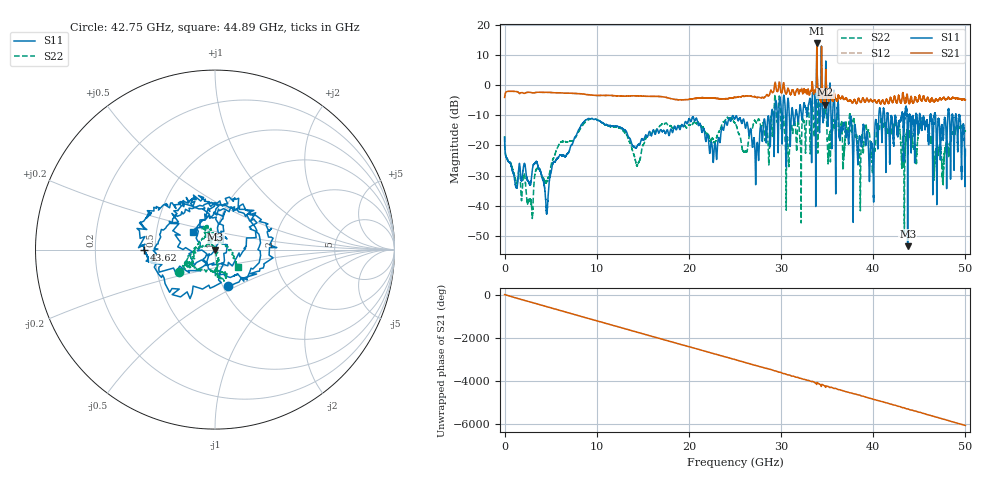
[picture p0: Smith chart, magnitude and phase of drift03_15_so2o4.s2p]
!Created with skrf (http://scikit-rf.org).
# Hz S RI R 50.0
!freq ReS11 ImS11 ReS21 ImS21 ReS12 ImS12 ReS22 ImS22
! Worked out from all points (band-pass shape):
!   10001 points, 300 kHz to 50 GHz, reference 50 ohm
!   highest |S21| = 13.94 dB at 33.88 GHz (marker M1); lowest = -6.4 dB at 34.79 GHz (marker M2)
!   |S21| within 3 dB of the highest: 33.8696 GHz to 33.88923 GHz (19.63 MHz wide, 0.0579 % of centre); 34.37674 GHz to 34.39128 GHz (14.54 MHz wide, 0.0423 % of centre)
!   lowest |S11| = -53.5 dB at 43.74 GHz (marker M3), VSWR 1.00, Z = 50.2 - j0.0923 ohm
!   |S11| at or under -10 dB: start of sweep to 28.94 GHz; 36.26 GHz to 40.61 GHz (4.347 GHz wide, 11.3 % of centre); 46.75 GHz to 48.09 GHz (1.335 GHz wide, 2.81 % of centre) (the widest 3 of 58)
!   |S22| runs from -49.8 to 10.4 dB; largest |S21 - S12| = 0.8
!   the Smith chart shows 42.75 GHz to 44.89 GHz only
!   S11 on the Smith chart (normalised r, x): 42.75 GHz: 1.06, -0.45; 43.62 GHz: 0.43, -0.00; 44.89 GHz: 0.77, +0.16
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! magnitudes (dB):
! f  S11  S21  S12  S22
! 300 kHz  -17.3  -4.0  -4.0  -17.0
! 2.85 GHz  -32.4  -2.4  -2.4  -38.0
! 4.585 GHz  -42.0  -2.3  -2.3  -31.9
! 8.335 GHz  -13.1  -2.8  -2.8  -13.9
! 14.43 GHz  -20.0  -3.5  -3.5  -26.4
! 16.67 GHz  -15.5  -3.7  -3.7  -14.3
! 22.82 GHz  -19.4  -4.3  -4.3  -19.1
! 25 GHz  -11.0  -4.0  -4.0  -12.6
! 26.09 GHz  -13.6  -3.6  -3.7  -22.0
! 27.39 GHz  -19.3  -4.1  -4.1  -12.3
! 29.6 GHz  -10.4  -2.0  -2.1  -11.8
! 30.7 GHz  -5.6  -1.4  -1.5  -17.2
! 33.34 GHz  -13.9  -0.5  -0.6  -7.3
! 33.88 GHz  14.9  13.9  13.6  10.4
! 34.79 GHz  -3.2  -6.4  -5.0  -8.7
! 39.82 GHz  -19.2  -5.0  -4.9  -23.9
! 41.67 GHz  -12.3  -6.0  -5.9  -15.1
! 42.75 GHz  -13.4  -3.4  -3.3  -12.6
! 43.62 GHz  -8.1  -3.9  -3.8  -15.7
! 43.74 GHz  -53.5  -4.1  -4.1  -17.7
! 44.89 GHz  -16.0  -4.8  -4.9  -16.0
! 50 GHz  -21.3  -4.9  -4.9  -15.1
